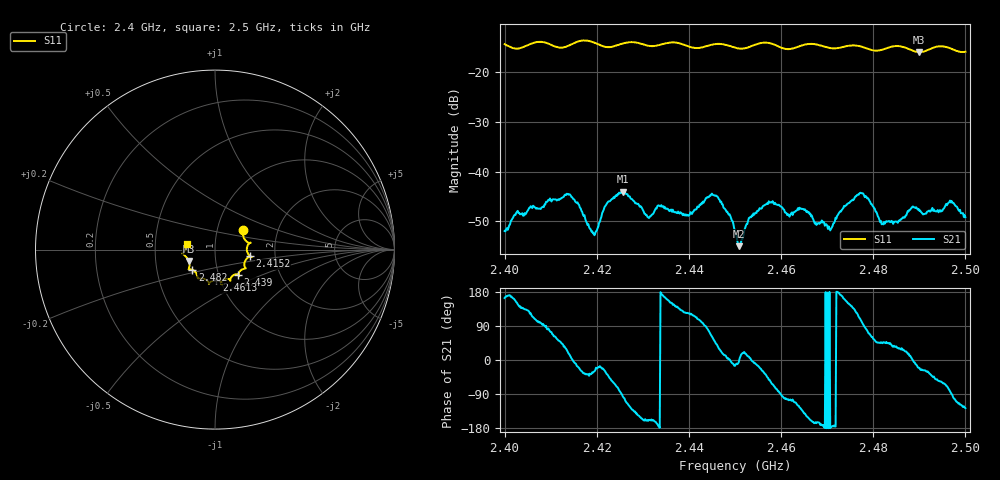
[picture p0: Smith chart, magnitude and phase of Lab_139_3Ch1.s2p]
# Hz S RI R 50
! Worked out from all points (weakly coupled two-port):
!   601 points, 2.4 GHz to 2.5 GHz, reference 50 ohm
!   highest |S21| = -44.03 dB at 2.4257 GHz (marker M1); lowest = -55.0 dB at 2.4508 GHz (marker M2)
!   lowest |S11| = -15.9 dB at 2.49 GHz (marker M3), VSWR 1.38, Z = 36.9 - j4.8 ohm
!   |S11| at or under -10 dB: start of sweep to end of sweep
!   S12 and S22 are empty: the file has one direction only
!   S11 on the Smith chart (normalised r, x): 2.4 GHz: 1.33, +0.31; 2.4152 GHz: 1.48, -0.11; 2.439 GHz: 1.24, -0.36; 2.4613 GHz: 0.96, -0.34; 2.482 GHz: 0.76, -0.17; 2.5 GHz: 0.73, +0.05
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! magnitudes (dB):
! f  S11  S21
! 2.4 GHz  -14.3  -51.9
! 2.4027 GHz  -15.2  -48.1
! 2.4152 GHz  -14.1  -45.7
! 2.4167 GHz  -13.6  -47.8
! 2.4195 GHz  -14.0  -52.8
! 2.4257 GHz  -14.2  -44.0
! 2.4312 GHz  -14.7  -49.2
! 2.4333 GHz  -14.6  -46.8
! 2.439 GHz  -14.5  -48.7
! 2.4455 GHz  -14.3  -44.8
! 2.45 GHz  -15.0  -51.8
! 2.4508 GHz  -15.2  -55.0
! 2.4568 GHz  -14.0  -46.5
! 2.4613 GHz  -15.3  -48.7
! 2.4667 GHz  -14.3  -48.8
! 2.4707 GHz  -15.1  -51.8
! 2.4773 GHz  -14.8  -44.3
! 2.482 GHz  -15.4  -50.5
! 2.4833 GHz  -15.0  -49.9
! 2.49 GHz  -15.9  -47.9
! 2.497 GHz  -15.3  -45.9
! 2.5 GHz  -15.8  -49.2
